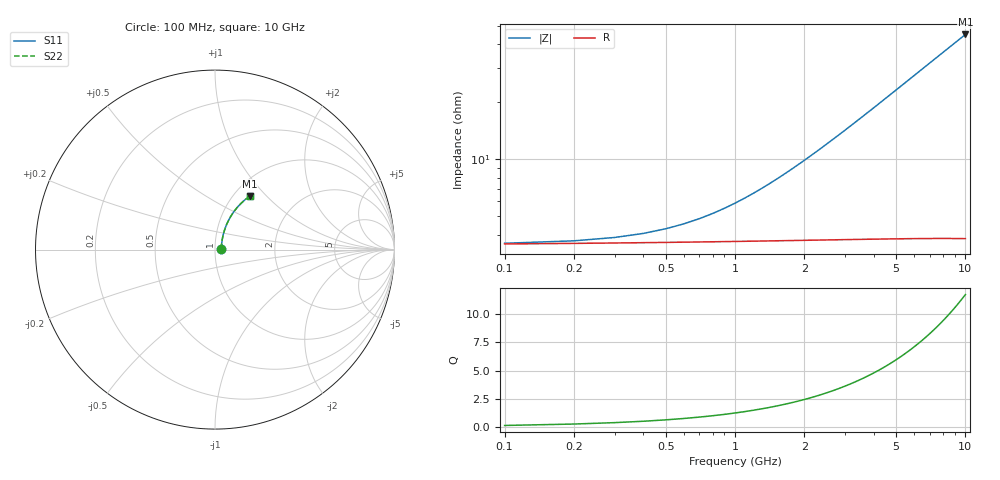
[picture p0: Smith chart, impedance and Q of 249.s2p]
# Hz S RI R 50.00
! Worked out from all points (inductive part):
!   100 points, 100 MHz to 10 GHz, reference 50 ohm
!   read as one part in series: L = 725 pH near 2.5 GHz
!   highest Q = 11.8 at 10 GHz (marker M1), where L = 716 pH
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1e8  0.0347 0.00366  0.9653 -0.00484  0.9653 -0.00484  0.0347 0.00366
2e8  0.0349 0.00733  0.9651 -0.00967  0.9651 -0.00967  0.0349 0.00733
3e8  0.0352 0.011  0.9648 -0.0145  0.9648 -0.0145  0.0352 0.011
5e8  0.0357 0.0183  0.9642 -0.0242  0.9642 -0.0242  0.0357 0.0183
7e8  0.0364 0.0256  0.9636 -0.0338  0.9636 -0.0338  0.0364 0.0256
1.3e9  0.0389 0.0473  0.9609 -0.0626  0.9609 -0.0626  0.0389 0.0473
1.6e9  0.0407 0.0581  0.9591 -0.0769  0.9591 -0.0769  0.0407 0.0581
1.8e9  0.042 0.0653  0.9577 -0.0864  0.9577 -0.0864  0.042 0.0653
2.2e9  0.0451 0.0795  0.9546 -0.1053  0.9546 -0.1053  0.0451 0.0795
2.6e9  0.0486 0.0935  0.9509 -0.1241  0.9509 -0.1241  0.0486 0.0935
3e9  0.0528 0.1074  0.9466 -0.1426  0.9466 -0.1426  0.0528 0.1074
3.4e9  0.0574 0.121  0.9417 -0.161  0.9417 -0.161  0.0574 0.121
3.8e9  0.0626 0.1344  0.9364 -0.1791  0.9364 -0.1791  0.0626 0.1344
4.2e9  0.0682 0.1475  0.9305 -0.1969  0.9305 -0.1969  0.0682 0.1475
4.6e9  0.0743 0.1604  0.9241 -0.2145  0.9241 -0.2145  0.0743 0.1604
5.1e9  0.0826 0.176  0.9155 -0.236  0.9155 -0.236  0.0826 0.176
5.9e9  0.0973 0.1998  0.9002 -0.2693  0.9002 -0.2693  0.0973 0.1998
6.7e9  0.1136 0.2222  0.8832 -0.3012  0.8832 -0.3012  0.1136 0.2222
7.5e9  0.1312 0.2431  0.8647 -0.3316  0.8647 -0.3316  0.1312 0.2431
8.4e9  0.1526 0.2645  0.8423 -0.3638  0.8423 -0.3638  0.1526 0.2645
9.2e9  0.1726 0.2818  0.8213 -0.3906  0.8213 -0.3906  0.1726 0.2818
1e10  0.1935 0.2973  0.7992 -0.4157  0.7992 -0.4157  0.1935 0.2973
